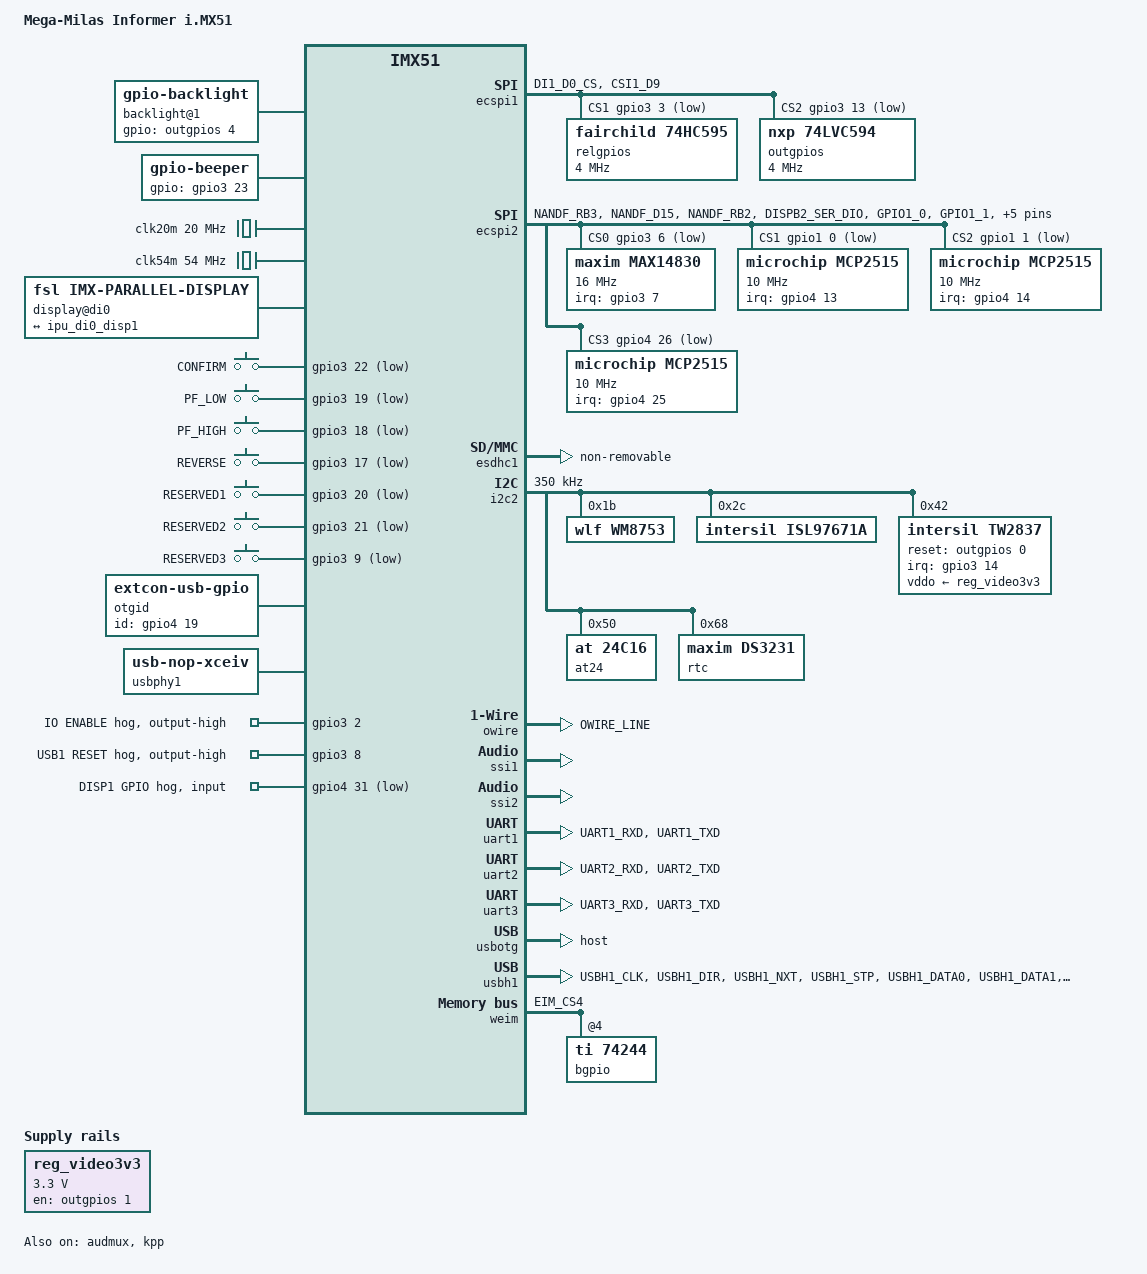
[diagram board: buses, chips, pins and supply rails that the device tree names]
#include <arm/imx51-digi-connectcore-som.dtsi>

#include <dt-bindings/input/input.h>
#include <dt-bindings/sound/fsl-imx-audmux.h>

/ {
	model = "Mega-Milas Informer i.MX51";
	compatible = "milas,informer-imx51",
		     "digi,connectcore-ccxmx51-som", "fsl,imx51";

	chosen {
		stdout-path = &uart1;

		environment@0 {
			compatible = "barebox,environment";
			device-path = &nfc, "partname:env";
		};
	};

	backlight {
		#address-cells = <1>;
		#size-cells = <0>;
		compatible = "simple-bus";

/*		backlight@0 {
			compatible = "gpio-backlight";
			reg = <0>;
		};*/

		backlight@1 {
			compatible = "gpio-backlight";
			reg = <1>;
			gpios = <&outgpios 4 GPIO_ACTIVE_HIGH>;
		};
	};

	beeper: beeper {
		compatible = "gpio-beeper";
		gpios = <&gpio3 23 GPIO_ACTIVE_HIGH>;
	};

	clocks {
		clk20m: clk20m {
			compatible = "fixed-clock";
			clock-frequency = <20000000>;
			#clock-cells = <0>;
		};

		clk54m: clk54m {
			compatible = "fixed-clock";
			clock-frequency = <54000000>;
			#clock-cells = <0>;
		};
	};

	csi@csi0 {
		pinctrl-names = "default";
		pinctrl-0 = <&pinctrl_ipu_csi0>;
	};

	csi@csi1 {
		pinctrl-names = "default";
		pinctrl-0 = <&pinctrl_ipu_csi1>;
	};

	display@di0 {
		#address-cells = <1>;
		#size-cells = <0>;
		compatible = "fsl,imx-parallel-display";
		pinctrl-names = "default";
		pinctrl-0 = <&pinctrl_ipu_disp0>;
		interface-pix-fmt = "rgb565";

		display-timings {
			native-mode = <&timing_di0_0>;

			timing_di0_0: PH320240T {
				clock-frequency = <6394000>;
				hactive = <320>;
				vactive = <240>;
				hback-porch = <38>;
				hfront-porch = <20>;
				hsync-len = <30>;
				vback-porch = <15>;
				vfront-porch = <5>;
				vsync-len = <3>;
				pixelclk-active = <1>;
				hsync-active = <0>;
				vsync-active = <0>;
				de-active = <1>;
			};
		};

		port@0 {
			reg = <0>;

			disp0_in: endpoint {
				remote-endpoint = <&ipu_di0_disp1>;
			};
		};
	};

/*
	display@di1 {
		#address-cells = <1>;
		#size-cells = <0>;
		compatible = "fsl,imx-parallel-display";
		pinctrl-names = "default";
		pinctrl-0 = <&pinctrl_ipu_disp1>;
		interface-pix-fmt = "rgb565";

		display-timings {
			native-mode = <&timing_di1_0>;

			timing_di1_0: PD104SL5 {
				clock-frequency = <33250000>;
				hactive = <800>;
				vactive = <600>;
				hback-porch = <30>;
				hfront-porch = <30>;
				hsync-len = <60>;
				vback-porch = <1>;
				vfront-porch = <1>;
				vsync-len = <2>;
				pixelclk-active = <1>;
				de-active = <1>;
			};
		};

		port@0 {
			reg = <0>;

			disp1_in: endpoint {
				remote-endpoint = <&ipu_di1_disp1>;
			};
		};
	};
*/

	gpiokeys: gpiokeys {
		pinctrl-names = "default";
		pinctrl-0 = <&pinctrl_gpiokeys>;
		compatible = "gpio-keys";

		button@0 {
			label = "CONFIRM";
			linux,code = <SW_MICROPHONE_INSERT>;
			linux,input-type = <EV_SW>;
			gpios = <&gpio3 22 GPIO_ACTIVE_LOW>;
		};

		button@1 {
			label = "PF_LOW";
			linux,code = <SW_TABLET_MODE>;
			linux,input-type = <EV_SW>;
			debounce-interval = <0>;
			gpios = <&gpio3 19 GPIO_ACTIVE_LOW>;
		};

		button@2 {
			label = "PF_HIGH";
			linux,code = <SW_HEADPHONE_INSERT>;
			linux,input-type = <EV_SW>;
			debounce-interval = <0>;
			gpios = <&gpio3 18 GPIO_ACTIVE_LOW>;
		};

		button@3 {
			label = "REVERSE";
			linux,code = <SW_RFKILL_ALL>;
			linux,input-type = <EV_SW>;
			gpios = <&gpio3 17 GPIO_ACTIVE_LOW>;
		};

		button@4 {
			label = "RESERVED1";
			linux,code = <SW_DOCK>;
			linux,input-type = <EV_SW>;
			gpios = <&gpio3 20 GPIO_ACTIVE_LOW>;
		};

		button@5 {
			label = "RESERVED2";
			linux,code = <SW_LINEOUT_INSERT>;
			linux,input-type = <EV_SW>;
			gpios = <&gpio3 21 GPIO_ACTIVE_LOW>;
		};

		button@6 {
			label = "RESERVED3";
			linux,code = <SW_JACK_PHYSICAL_INSERT>;
			linux,input-type = <EV_SW>;
			gpios = <&gpio3 9 GPIO_ACTIVE_LOW>;
		};
	};

	otgid: extcon {
		pinctrl-names = "default";
		pinctrl-0 = <&pinctrl_otgid>;
		compatible = "linux,extcon-usb-gpio";
		id-gpio = <&gpio4 19 GPIO_ACTIVE_HIGH>;
	};

	reg_video3v3: regulator@0 {
		compatible = "regulator-fixed";
		regulator-name = "video3v3";
		regulator-min-microvolt = <3300000>;
		regulator-max-microvolt = <3300000>;
		gpio = <&outgpios 1 GPIO_ACTIVE_HIGH>;
		enable-active-high;
	};

	usbphy1: usbphy1 {
		compatible = "usb-nop-xceiv";
		clocks = <&clks IMX5_CLK_USB_PHY_GATE>;
		clock-names = "main_clk";
		#phy-cells = <0>;
	};

	soc {
		aips@80000000 {
			vpu: vpu@83ff4000 {
				compatible = "fsl,imx51-vpu";
				reg = <0x83ff4000 0x1000>;
				interrupts = <9>;
				clocks = <&clks IMX5_CLK_VPU_REFERENCE_GATE>,
					 <&clks IMX5_CLK_VPU_GATE>;
				clock-names = "per", "ahb";
				resets = <&src 1>;
				iram = <&iram>;
			};
		};
	};

	sound {
		#address-cells = <1>;
		#size-cells = <0>;
		compatible = "simple-bus";

		audio@0 {
			reg = <0>;
			compatible = "simple-audio-card";
			simple-audio-card,name = "SSI0WM8753";
			simple-audio-card,format = "i2s";
			simple-audio-card,bitclock-master = <&audio0_master>;
			simple-audio-card,frame-master = <&audio0_master>;
			simple-audio-card,widgets =
				"Headphone", "Line Out";
			simple-audio-card,routing =
				"Line Out", "LOUT1",
				"Line Out", "ROUT1";

			simple-audio-card,cpu {
				sound-dai = <&ssi1>;
			};

			audio0_master: simple-audio-card,codec {
				sound-dai = <&wm8753>;
				system-clock-frequency = <12000000>;
			};
		};

		audio@1 {
			reg = <1>;
			compatible = "simple-audio-card";
			simple-audio-card,name = "SSI1TW2837";
			simple-audio-card,format = "i2s";
			simple-audio-card,bitclock-master = <&audio1_master>;
			simple-audio-card,frame-master = <&audio1_master>;
			/*simple-audio-card,widgets =
				"Headphone", "Line Out";
			simple-audio-card,routing =
				"Line Out", "LOUT1",
				"Line Out", "ROUT1";*/

			audio1_master: simple-audio-card,cpu {
				sound-dai = <&ssi2>;
			};

			simple-audio-card,codec {
				sound-dai = <&tw2837_audio>;
				/*system-clock-frequency = <12000000>;*/
			};
		};
	};
};

&audmux {
	pinctrl-names = "default";
	pinctrl-0 = <&pinctrl_audmux>;
	status = "okay";

	audmux-ssi0 {
		fsl,audmux-port = <MX51_AUDMUX_PORT1_SSI0>;
		fsl,port-config = <
			(IMX_AUDMUX_V2_PTCR_TFSDIR |
			IMX_AUDMUX_V2_PTCR_TFSEL(MX51_AUDMUX_PORT3) |
			IMX_AUDMUX_V2_PTCR_TCLKDIR |
			IMX_AUDMUX_V2_PTCR_TCSEL(MX51_AUDMUX_PORT3) |
			IMX_AUDMUX_V2_PTCR_SYN)
			IMX_AUDMUX_V2_PDCR_RXDSEL(MX51_AUDMUX_PORT3)
		>;
	};

	audmux-aud3 {
		fsl,audmux-port = <MX51_AUDMUX_PORT3>;
		fsl,port-config = <
			IMX_AUDMUX_V2_PTCR_SYN
			IMX_AUDMUX_V2_PDCR_RXDSEL(MX51_AUDMUX_PORT1_SSI0)
		>;
	};

	audmux-ssi1 {
		fsl,audmux-port = <MX51_AUDMUX_PORT2_SSI1>;
		fsl,port-config = <
			(IMX_AUDMUX_V2_PTCR_TFSDIR |
			IMX_AUDMUX_V2_PTCR_TFSEL(MX51_AUDMUX_PORT5) |
			IMX_AUDMUX_V2_PTCR_TCLKDIR |
			IMX_AUDMUX_V2_PTCR_TCSEL(MX51_AUDMUX_PORT5) |
			IMX_AUDMUX_V2_PTCR_SYN)
			IMX_AUDMUX_V2_PDCR_RXDSEL(MX51_AUDMUX_PORT5)
		>;
	};

	audmux-aud5 {
		fsl,audmux-port = <MX51_AUDMUX_PORT5>;
		fsl,port-config = <
			IMX_AUDMUX_V2_PTCR_SYN
			IMX_AUDMUX_V2_PDCR_RXDSEL(MX51_AUDMUX_PORT2_SSI1)
		>;
	};
};

&ecspi1 {
	pinctrl-names = "default";
	pinctrl-0 = <&pinctrl_ecspi1 &pinctrl_ecspi1cs>;
	fsl,spi-num-chipselects = <3>;
	cs-gpios = <&gpio4 24 GPIO_ACTIVE_HIGH>, <&gpio3 3 GPIO_ACTIVE_LOW>,
		   <&gpio3 13 GPIO_ACTIVE_LOW>;

	relgpios: gpio@1 {
		compatible = "fairchild,74hc595";
		reg = <1>;
		spi-max-frequency = <4000000>;
		registers-number = <1>;
		gpio-controller;
		#gpio-cells = <2>;
	};

	outgpios: gpio@2 {
		compatible = "nxp,74lvc594";
		reg = <2>;
		spi-max-frequency = <4000000>;
		registers-number = <1>;
		gpio-controller;
		#gpio-cells = <2>;
	};
};

&ecspi2 {
	pinctrl-names = "default";
	pinctrl-0 = <&pinctrl_ecspi2>;
	fsl,spi-num-chipselects = <4>;
	cs-gpios = <&gpio3 6 GPIO_ACTIVE_LOW>, <&gpio1 0 GPIO_ACTIVE_LOW>,
		   <&gpio1 1 GPIO_ACTIVE_LOW>, <&gpio4 26 GPIO_ACTIVE_LOW>;
	status = "okay";

	max14830: max14830@0 {
		compatible = "maxim,max14830";
		reg = <0>;
		spi-max-frequency = <16000000>;
		clocks = <&clk20m>;
		clock-names = "osc";
		interrupt-parent = <&gpio3>;
		interrupts = <7 IRQ_TYPE_EDGE_FALLING>;
		gpio-controller;
		#gpio-cells = <2>;
	};

	mcp2515@1 {
		compatible = "microchip,mcp2515";
		reg = <1>;
		spi-max-frequency = <10000000>;
		clocks = <&clk20m>;
		interrupt-parent = <&gpio4>;
		interrupts = <13 IRQ_TYPE_EDGE_FALLING>;
	};

	mcp2515@2 {
		compatible = "microchip,mcp2515";
		reg = <2>;
		spi-max-frequency = <10000000>;
		clocks = <&clk20m>;
		interrupt-parent = <&gpio4>;
		interrupts = <14 IRQ_TYPE_EDGE_FALLING>;
	};

	mcp2515@3 {
		compatible = "microchip,mcp2515";
		reg = <3>;
		spi-max-frequency = <10000000>;
		clocks = <&clk20m>;
		interrupt-parent = <&gpio4>;
		interrupts = <25 IRQ_TYPE_EDGE_FALLING>;
	};
};

&esdhc1 {
	non-removable;
	status = "okay";
};

&gpio3 {
	ioen {
		gpio-hog;
		gpios = <2 GPIO_ACTIVE_HIGH>;
		output-high;
		line-name = "IO ENABLE";
	};

	usb1rst {
		gpio-hog;
		gpios = <8 GPIO_ACTIVE_HIGH>;
		output-high;
		line-name = "USB1 RESET";
	};
};

&gpio4 {
	disp1gpio {
		gpio-hog;
		gpios = <31 GPIO_ACTIVE_LOW>;
		input;
		line-name = "DISP1 GPIO";
	};
};

&i2c2 {
	/* WM8753 SCLK Low pulse-width MIN 1.3us */
	clock-frequency = <350000>;

	wm8753: wm8753@1b {
		#sound-dai-cells = <0>;
		compatible = "wlf,wm8753";
		reg = <0x1b>;
	};

	isl97671a@2c {
		compatible = "intersil,isl97671a";
		reg = <0x2c>;
	};

	tw2837: tw2837@42 {
		pinctrl-names = "default";
		pinctrl-0 = <&pinctrl_tw2837>;
		compatible = "intersil,tw2837";
		reg = <0x42>;
		clocks = <&clk54m>;
		interrupt-parent = <&gpio3>;
		interrupts = <14 IRQ_TYPE_LEVEL_HIGH>;
		vddo-supply = <&reg_video3v3>;
		reset-gpios = <&outgpios 0 GPIO_ACTIVE_HIGH>;

		tw2837_audio: audio {
			#sound-dai-cells = <0>;
			/**/
		};

		video {
		};
	};

	at24@50 {
		compatible = "at,24c16";
		reg = <0x50>;
		pagesize = <256>;
	};

	rtc@68 {
		compatible = "maxim,ds3231";
		reg = <0x68>;
		#clock-cells = <1>;
	};
};

&iim {
	barebox,provide-mac-address = <&fec 1 9>;
};

&ipu {
	ipu_csi0: port@0 {
		reg = <0>;
	};

	ipu_csi1: port@1 {
		reg = <1>;
	};
};

&ipu_di0_disp1 {
	remote-endpoint = <&disp0_in>;
};

/*
&ipu_di1 {
	ipu_di1_tve: endpoint@1 {
		reg = <1>;
		remote-endpoint = <&tve_in>;
	};
};

&ipu_di1_disp1 {
	remote-endpoint = <&disp1_in>;
};
*/

&kpp {
	pinctrl-names = "default";
	pinctrl-0 = <&pinctrl_kpp>;
	linux,keymap = <
		MATRIX_KEY(0,0,0x0100)
		MATRIX_KEY(0,1,0x0101)
		MATRIX_KEY(0,2,0x0102)
		MATRIX_KEY(0,3,0x0103)
		MATRIX_KEY(0,4,0x0104)
		MATRIX_KEY(0,5,0x0105)
		MATRIX_KEY(1,0,0x0110)
		MATRIX_KEY(1,1,0x0111)
		MATRIX_KEY(1,2,0x0112)
		MATRIX_KEY(1,3,0x0113)
		MATRIX_KEY(1,4,0x0114)
		MATRIX_KEY(1,5,0x0115)
		MATRIX_KEY(2,0,0x0120)
		MATRIX_KEY(2,1,0x0121)
		MATRIX_KEY(2,2,0x0122)
		MATRIX_KEY(2,3,0x0123)
		MATRIX_KEY(2,4,0x0124)
		MATRIX_KEY(2,5,0x0125)
		MATRIX_KEY(3,0,0x0130)
		MATRIX_KEY(3,1,0x0131)
		MATRIX_KEY(3,2,0x0132)
		MATRIX_KEY(3,3,0x0133)
		MATRIX_KEY(3,4,0x0134)
		MATRIX_KEY(3,5,0x0135)
	>;
	status = "okay";
};

&nfc {
	partition@0 {
		label = "boot";
		reg = <0x00000 0x80000>;
	};

	partition@1 {
		label = "env";
		reg = <0x80000 0x40000>;
	};
};

&owire {
	pinctrl-names = "default";
	pinctrl-0 = <&pinctrl_owire>;
	status = "okay";
};

&pmic {
	fsl,mc13xxx-uses-touch;

	leds {
		#address-cells = <1>;
		#size-cells = <0>;
		led-control = <0x000000 0x000000 0x600600 0x000600>;

		led-live {
			reg = <3>;
			label = "red:live";
			linux,default-trigger = "heartbeat";
		};

		led-usb {
			reg = <4>;
			label = "red:mtd";
			linux,default-trigger = "mtd";
		};

		led-none {
			reg = <5>;
			label = "red:usb";
			linux,default-trigger = "usb-host";
		};
	};
};

&ssi1 {
	fsl,mode = "i2s-slave";
	status = "okay";
};

&ssi2 {
	fsl,mode = "i2s-slave";
	status = "okay";
};

/*
&tve {
	fsl,tve-mode = "tvout";

	port {
		tve_in: endpoint {
			remote-endpoint = <&ipu_di1_tve>;
		};
	};
};
*/

&uart1 {
	pinctrl-names = "default";
	pinctrl-0 = <&pinctrl_uart1>;
	status = "okay";
};

&uart2 {
	pinctrl-names = "default";
	pinctrl-0 = <&pinctrl_uart2>;
	status = "okay";
};

&uart3 {
	pinctrl-names = "default";
	pinctrl-0 = <&pinctrl_uart3>;
	status = "okay";
};

&usbotg {
	dr_mode = "host"; /* otg */
	extcon = <&otgid>;
	status = "okay";
};

&usbh1 {
	pinctrl-names = "default";
	pinctrl-0 = <&pinctrl_usbh1>;
	fsl,usbphy = <&usbphy1>;
	phy_type = "ulpi";
	disable-over-current;
	status = "okay";
};

&weim {
	pinctrl-names = "default";
	pinctrl-0 = <&pinctrl_weim &pinctrl_weimcs>;

	bgpio@cc000000 {
		compatible = "ti,74244";
		reg = <4 0x00000000 0x1>;
		fsl,weim-cs-timing = <
			0x00460081 0x00000000
			0x32260000 0x00000000
			0x72080f00 0x00000000
		>;
		gpio-controller;
		#gpio-cells = <2>;
	};
};

&iomuxc {
	pinctrl-names = "default";
	pinctrl-0 = <&pinctrl_hog>;

	hog {
		pinctrl_hog: hoggrp {
			fsl,pins = <
				/* IO Enable */
				MX51_PAD_DI1_PIN13__GPIO3_2		0x04
				/* USBH1 Reset */
				MX51_PAD_DISPB2_SER_RS__GPIO3_8		0x04
				/* GPIO Beeper */
				MX51_PAD_NANDF_CS7__GPIO3_23		0x04
				/* DISP1 GPIO */
				MX51_PAD_UART1_CTS__GPIO4_31		0xc5
			>;
		};
	};

	mm_imx51 {
		pinctrl_audmux: audmuxgrp {
			fsl,pins = <
				MX51_PAD_AUD3_BB_TXD__AUD3_TXD		0x80000000
				MX51_PAD_AUD3_BB_CK__AUD3_TXC		0x80000000
				MX51_PAD_AUD3_BB_FS__AUD3_TXFS		0x80000000
				MX51_PAD_SD1_DATA1__AUD5_RXD		0x80000000
				MX51_PAD_SD1_CLK__AUD5_RXC		0x80000000
				MX51_PAD_SD1_CMD__AUD5_RXFS		0x80000000
			>;
		};

		pinctrl_ipu_csi0: ipucsi0grp {
			fsl,pins = <
				MX51_PAD_CSI1_D12__CSI1_D12		0x80000000
				MX51_PAD_CSI1_D13__CSI1_D13		0x80000000
				MX51_PAD_CSI1_D14__CSI1_D14		0x80000000
				MX51_PAD_CSI1_D15__CSI1_D15		0x80000000
				MX51_PAD_CSI1_D16__CSI1_D16		0x80000000
				MX51_PAD_CSI1_D17__CSI1_D17		0x80000000
				MX51_PAD_CSI1_D18__CSI1_D18		0x80000000
				MX51_PAD_CSI1_D19__CSI1_D19		0x80000000
				MX51_PAD_CSI1_PIXCLK__CSI1_PIXCLK	0x80000000
			>;
		};

		pinctrl_ipu_csi1: ipucsi1grp {
			fsl,pins = <
				MX51_PAD_CSI2_D12__CSI2_D12		0x80000000
				MX51_PAD_CSI2_D13__CSI2_D13		0x80000000
				MX51_PAD_CSI2_D14__CSI2_D14		0x80000000
				MX51_PAD_CSI2_D15__CSI2_D15		0x80000000
				MX51_PAD_CSI2_D16__CSI2_D16		0x80000000
				MX51_PAD_CSI2_D17__CSI2_D17		0x80000000
				MX51_PAD_CSI2_D18__CSI2_D18		0x80000000
				MX51_PAD_CSI2_D19__CSI2_D19		0x80000000
				MX51_PAD_CSI2_PIXCLK__CSI2_PIXCLK	0x80000000
			>;
		};

		pinctrl_ecspi1cs: ecspi1csgrp {
			fsl,pins = <
				MX51_PAD_DI1_D0_CS__GPIO3_3		0x85 /* CS1 */
				MX51_PAD_CSI1_D9__GPIO3_13		0x85 /* CS2 */
			>;
		};

		pinctrl_ecspi2: ecspi2grp {
			fsl,pins = <
				MX51_PAD_NANDF_RB3__ECSPI2_MISO		0x185
				MX51_PAD_NANDF_D15__ECSPI2_MOSI		0x185
				MX51_PAD_NANDF_RB2__ECSPI2_SCLK		0x185
				MX51_PAD_DISPB2_SER_DIO__GPIO3_6	0x85 /* CS0 */
				MX51_PAD_GPIO1_0__GPIO1_0		0x85 /* CS1 */
				MX51_PAD_GPIO1_1__GPIO1_1		0x85 /* CS2 */
				MX51_PAD_CSPI1_RDY__GPIO4_26		0x85 /* CS3 */
				MX51_PAD_DISPB2_SER_CLK__GPIO3_7	0x185 /* IRQ */
				MX51_PAD_CSI2_VSYNC__GPIO4_13		0x185 /* IRQ */
				MX51_PAD_CSI2_HSYNC__GPIO4_14		0x185 /* IRQ */
				MX51_PAD_CSPI1_SS1__GPIO4_25		0x185 /* IRQ */
			>;
		};

		pinctrl_gpiokeys: gpiokeysgrp {
			fsl,pins = <
				MX51_PAD_NANDF_RB1__GPIO3_9		0x1f4
				MX51_PAD_NANDF_CS1__GPIO3_17		0x84
				MX51_PAD_NANDF_CS2__GPIO3_18		0x84
				MX51_PAD_NANDF_CS3__GPIO3_19		0x84
				MX51_PAD_NANDF_CS4__GPIO3_20		0x84
				MX51_PAD_NANDF_CS5__GPIO3_21		0x84
				MX51_PAD_NANDF_CS6__GPIO3_22		0x84
			>;
		};

		pinctrl_ipu_disp0: ipudisp0grp {
			fsl,pins = <
				MX51_PAD_DISP1_DAT0__DISP1_DAT0		0x5
				MX51_PAD_DISP1_DAT1__DISP1_DAT1		0x5
				MX51_PAD_DISP1_DAT2__DISP1_DAT2		0x5
				MX51_PAD_DISP1_DAT3__DISP1_DAT3		0x5
				MX51_PAD_DISP1_DAT4__DISP1_DAT4		0x5
				MX51_PAD_DISP1_DAT5__DISP1_DAT5		0x5
				MX51_PAD_DISP1_DAT6__DISP1_DAT6		0x5
				MX51_PAD_DISP1_DAT7__DISP1_DAT7		0x5
				MX51_PAD_DISP1_DAT8__DISP1_DAT8		0x5
				MX51_PAD_DISP1_DAT9__DISP1_DAT9		0x5
				MX51_PAD_DISP1_DAT10__DISP1_DAT10	0x5
				MX51_PAD_DISP1_DAT11__DISP1_DAT11	0x5
				MX51_PAD_DISP1_DAT12__DISP1_DAT12	0x5
				MX51_PAD_DISP1_DAT13__DISP1_DAT13	0x5
				MX51_PAD_DISP1_DAT14__DISP1_DAT14	0x5
				MX51_PAD_DISP1_DAT15__DISP1_DAT15	0x5
				MX51_PAD_DI1_PIN2__DI1_PIN2		0x5 /* Hsync */
				MX51_PAD_DI1_PIN3__DI1_PIN3		0x5 /* Vsync */
			>;
		};

		pinctrl_ipu_disp1: ipudisp1grp {
			fsl,pins = <
				MX51_PAD_DISP2_DAT0__DISP2_DAT0		0x5
				MX51_PAD_DISP2_DAT1__DISP2_DAT1		0x5
				MX51_PAD_DISP2_DAT2__DISP2_DAT2		0x5
				MX51_PAD_DISP2_DAT3__DISP2_DAT3		0x5
				MX51_PAD_DISP2_DAT4__DISP2_DAT4		0x5
				MX51_PAD_DISP2_DAT5__DISP2_DAT5		0x5
				MX51_PAD_DISP2_DAT6__DISP2_DAT6		0x5
				MX51_PAD_DISP2_DAT7__DISP2_DAT7		0x5
				MX51_PAD_DISP2_DAT8__DISP2_DAT8		0x5
				MX51_PAD_DISP2_DAT9__DISP2_DAT9		0x5
				MX51_PAD_DISP2_DAT10__DISP2_DAT10	0x5
				MX51_PAD_DISP2_DAT11__DISP2_DAT11	0x5
				MX51_PAD_DISP2_DAT12__DISP2_DAT12	0x5
				MX51_PAD_DISP2_DAT13__DISP2_DAT13	0x5
				MX51_PAD_DISP2_DAT14__DISP2_DAT14	0x5
				MX51_PAD_DISP2_DAT15__DISP2_DAT15	0x5
				MX51_PAD_DI2_PIN2__DI2_PIN2		0x5 /* Hsync */
				MX51_PAD_DI2_PIN3__DI2_PIN3		0x5 /* Vsync */
				MX51_PAD_DI2_DISP_CLK__DI2_DISP_CLK	0x5 /* CLK */
				MX51_PAD_DI_GP4__DI2_PIN15		0x5 /* DE */
			>;
		};

		pinctrl_kpp: kppgrp {
			fsl,pins = <
				MX51_PAD_KEY_ROW0__KEY_ROW0		0x1e0
				MX51_PAD_KEY_ROW1__KEY_ROW1		0x1e0
				MX51_PAD_KEY_ROW2__KEY_ROW2		0x1e0
				MX51_PAD_KEY_ROW3__KEY_ROW3		0x1e0
				MX51_PAD_KEY_COL0__KEY_COL0		0xe8
				MX51_PAD_KEY_COL1__KEY_COL1		0xe8
				MX51_PAD_KEY_COL2__KEY_COL2		0xe8
				MX51_PAD_KEY_COL3__KEY_COL3		0xe8
				MX51_PAD_KEY_COL4__KEY_COL4		0xe8
				MX51_PAD_KEY_COL5__KEY_COL5		0xe8
			>;
		};

		pinctrl_owire: owiregrp {
			fsl,pins = <
				MX51_PAD_OWIRE_LINE__OWIRE_LINE		0x40000001
			>;
		};

		pinctrl_tw2837: tw2837grp {
			fsl,pins = <
				MX51_PAD_CSI1_VSYNC__GPIO3_14		0x101 /* IRQ */
				MX51_PAD_CSI1_HSYNC__GPIO3_15		0x101 /* Unused */
			>;
		};

		pinctrl_uart1: uart1grp {
			fsl,pins = <
				MX51_PAD_UART1_RXD__UART1_RXD		0x1c5
				MX51_PAD_UART1_TXD__UART1_TXD		0xc5
			>;
		};

		pinctrl_uart2: uart2grp {
			fsl,pins = <
				MX51_PAD_UART2_RXD__UART2_RXD		0x1c5
				MX51_PAD_UART2_TXD__UART2_TXD		0xc5
			>;
		};

		pinctrl_uart3: uart3grp {
			fsl,pins = <
				MX51_PAD_UART3_RXD__UART3_RXD		0x1c5
				MX51_PAD_UART3_TXD__UART3_TXD		0xc5
			>;
		};

		pinctrl_usbh1: usbh1grp {
			fsl,pins = <
				MX51_PAD_USBH1_CLK__USBH1_CLK		0x1e5
				MX51_PAD_USBH1_DIR__USBH1_DIR		0x1e5
				MX51_PAD_USBH1_NXT__USBH1_NXT		0x1e5
				MX51_PAD_USBH1_STP__USBH1_STP		0x1e5
				MX51_PAD_USBH1_DATA0__USBH1_DATA0	0x1e5
				MX51_PAD_USBH1_DATA1__USBH1_DATA1	0x1e5
				MX51_PAD_USBH1_DATA2__USBH1_DATA2	0x1e5
				MX51_PAD_USBH1_DATA3__USBH1_DATA3	0x1e5
				MX51_PAD_USBH1_DATA4__USBH1_DATA4	0x1e5
				MX51_PAD_USBH1_DATA5__USBH1_DATA5	0x1e5
				MX51_PAD_USBH1_DATA6__USBH1_DATA6	0x1e5
				MX51_PAD_USBH1_DATA7__USBH1_DATA7	0x1e5
			>;
		};

		pinctrl_otgid: otgidgrp {
			fsl,pins = <
				MX51_PAD_AUD3_BB_RXD__GPIO4_19		0x1c4
			>;
		};

		pinctrl_weimcs: weimcsgrp {
			fsl,pins = <
				MX51_PAD_EIM_CS4__EIM_CS4		0xc5
			>;
		};
	};
};
